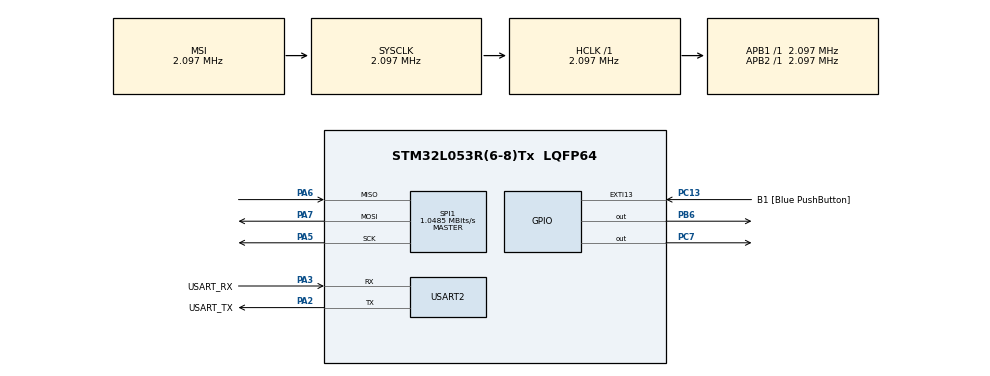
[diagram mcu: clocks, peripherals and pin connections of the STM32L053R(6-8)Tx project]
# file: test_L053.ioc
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Mcu.Family=STM32L0
Mcu.Name=STM32L053R(6-8)Tx
Mcu.Package=LQFP64
NVIC.USART2_IRQn=true\:0\:0\:false\:false\:true\:true\:true
PA13.GPIO_Label=TMS
PA13.Mode=Serial_Wire
PA13.Signal=SYS_SWDIO
PA14.GPIO_Label=TCK
PA14.Mode=Serial_Wire
PA14.Signal=SYS_SWCLK
PA2.GPIO_Label=USART_TX
PA2.Mode=Asynchronous
PA2.Signal=USART2_TX
PA3.GPIO_Label=USART_RX
PA3.Mode=Asynchronous
PA3.Signal=USART2_RX
PA5.Mode=Full_Duplex_Master
PA5.Signal=SPI1_SCK
PA6.Mode=Full_Duplex_Master
PA6.Signal=SPI1_MISO
PA7.Mode=Full_Duplex_Master
PA7.Signal=SPI1_MOSI
PB6.Signal=GPIO_Output
PC13.GPIO_Label=B1 [Blue PushButton]
PC13.GPIO_ModeDefaultEXTI=GPIO_MODE_IT_FALLING
PC13.Signal=GPXTI13
PC14-OSC32_IN.Mode=LSE-External-Oscillator
PC14-OSC32_IN.Signal=RCC_OSC32_IN
PC15-OSC32_OUT.Mode=LSE-External-Oscillator
PC15-OSC32_OUT.Signal=RCC_OSC32_OUT
PC7.Signal=GPIO_Output
PH0-OSC_IN.Mode=HSE-External-Clock-Source
PH0-OSC_IN.Signal=RCC_OSC_IN
PH1-OSC_OUT.Signal=RCC_OSC_OUT
ProjectManager.HeapSize=0x200
ProjectManager.StackSize=0x400
ProjectManager.TargetToolchain=MDK-ARM V5
RCC.AHBFreq_Value=2097000
RCC.APB1Freq_Value=2097000
RCC.APB1TimFreq_Value=2097000
RCC.APB2Freq_Value=2097000
RCC.APB2TimFreq_Value=2097000
RCC.HSE_VALUE=8000000
RCC.HSI16_VALUE=16000000
RCC.HSI48_VALUE=48000000
RCC.HSI_VALUE=16000000
RCC.MSI_VALUE=2097000
RCC.SYSCLKFreq_VALUE=2097000
RCC.VCOOutputFreq_Value=48000000
SPI1.CalculateBaudRate=1.0485 MBits/s
SPI1.Direction=SPI_DIRECTION_2LINES
SPI1.Mode=SPI_MODE_MASTER
SPI1.VirtualType=VM_MASTER
USART2.VirtualMode-Asynchronous=VM_ASYNC
board=NUCLEO-L053R8

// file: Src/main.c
/* USER CODE BEGIN Header */
/**
  ******************************************************************************
  * @file           : main.c
  * @brief          : Main program body
  ******************************************************************************
  * @attention
  *
  * <h2><center>&copy; Copyright (c) 2019 STMicroelectronics.
  * All rights reserved.</center></h2>
  *
  * This software component is licensed by ST under BSD 3-Clause license,
  * the "License"; You may not use this file except in compliance with the
  * License. You may obtain a copy of the License at:
  *                        opensource.org/licenses/BSD-3-Clause
  *
  ******************************************************************************
  */
/* USER CODE END Header */

#include "main.h"

/* USER CODE BEGIN Includes */
#include "w6100.h"
#include "loopback.h"
#include "socket.h"
#include <stdio.h>
#include "board_init.h"
#include "Application.h"
/* USER CODE END Includes */

/* USER CODE BEGIN PTD */
#define KEIL //KEIL ,True_STD
/* USER CODE END PTD */

/* USER CODE BEGIN PD */
unsigned char URX_BUF[512];
unsigned int URX_BUF_cnt = 0;
unsigned int URX_BUF_Flag = 0;
/* USER CODE END PD */

/* USER CODE BEGIN PM */
uint8_t rxData;
wiz_NetInfo gWIZNETINFO = { .mac = {0x00,0x08,0xdc,0xff,0xff,0xff},
							.ip = {192,168,0,13},
							.sn = {255, 255, 255, 0},
							.gw = {192, 168, 0, 1},
							.dns = {168, 126, 63, 1},
							.lla = {0xfe,0x80, 0x00,0x00,
								 0x00,0x00, 0x00,0x00,
								 0x02,0x00, 0xdc,0xff,
								 0xfe,0x57, 0x57,0x62},
				            .gua={0x00,0x00,0x00,0x00,
								 0x00,0x00,0x00,0x00,
								 0x00,0x00,0x00,0x00,
								 0x00,0x00,0x00,0x00},
				            .sn6={0x00,0x00,0x00,0x00,
								 0x00,0x00,0x00,0x00,
								 0x00,0x00,0x00, 0x00,
								 0x00,0x00,0x00,0x00},
				            .gw6={0x00, 0x00, 0x00,0x00,
								  0x00,0x00,0x00,0x00,
								  0x00,0x00, 0x00,0x00,
								  0x00,0x00, 0x00,0x00}
							};

uint8_t WIZ_Dest_IP[4] = {192, 168, 0, 232};                  //DST_IP Address

uint8_t DestIP6_L[16] = {0xfe,0x80, 0x00,0x00,
						  0x00,0x00, 0x00,0x00,
                          0x31,0x71,0x98,0x05,
                          0x70,0x24,0x4b,0xb1
						};

uint8_t DestIP6_G[16] = {0x20,0x01,0x02,0xb8,
                          0x00,0x10,0x00,0x01,
                          0x31,0x71,0x98,0x05,
                          0x70,0x24,0x4b,0xb1
                         };

uint8_t Router_IP[16]= {0xff,0x02,0x00,0x00,
                          0x00,0x00,0x00,0x00,
                          0x00,0x00,0x00,0x00,
                          0x00,0x00,0x00,0x02
                         };
uint8_t data_buf[2048];
void print_network_information(void);
/* USER CODE END PM */

SPI_HandleTypeDef hspi1;

UART_HandleTypeDef huart2;

void SystemClock_Config(void);
static void MX_GPIO_Init(void);
static void MX_SPI1_Init(void);
static void MX_USART2_UART_Init(void);
/* USER CODE BEGIN PFP */
#ifdef KEIL
	#ifdef __GNUC__
		//With GCC, small printf (option LD Linker->Libraries->Small printf
		//set to 'Yes') calls __io_putchar()
		#define PUTCHAR_PROTOTYPE int __io_putchar(int ch)
	#else
		#define PUTCHAR_PROTOTYPE int fputc(int ch, FILE *f)
	#endif /* __GNUC__*/

	PUTCHAR_PROTOTYPE
	{
		HAL_UART_Transmit(&huart2, (uint8_t *)&ch, 1, 0xFFFF);
		return ch;
	}
#endif

#ifdef True_STD
	int _write(int fd, char *str, int len)
	{
		for(int i=0; i<len; i++)
		{
			HAL_UART_Transmit(&huart2, (uint8_t *)&str[i], 1, 0xFFFF);
		}
		return len;
	}
#endif

void HAL_UART_RxCpltCallback(UART_HandleTypeDef *huart) {

    /*
        This will be called once data is received successfully,
        via interrupts.
    */

     /*
       loop back received data
     */
     HAL_UART_Receive_IT(&huart2, &rxData, 1);
     HAL_UART_Transmit(&huart2, &rxData, 1, 1000);
     //massage input end enter key flag
     URX_BUF[URX_BUF_cnt++] = rxData;
     if((rxData == '\r') ||(URX_BUF_cnt > 512))
     {
    	 URX_BUF_Flag = 1;
     }
}
/* USER CODE END PFP */

int main(void)
{
  /* USER CODE BEGIN 1 */
  uint8_t syslock = SYS_NET_LOCK;
  /* USER CODE END 1 */

  /* MCU Configuration--------------------------------------------------------*/

  /* Reset of all peripherals, Initializes the Flash interface and the Systick. */
  HAL_Init();

  /* Configure the system clock */
  SystemClock_Config();

  /* Initialize all configured peripherals */
  MX_GPIO_Init();
  MX_SPI1_Init();
  MX_USART2_UART_Init();
  /* USER CODE BEGIN 2 */
  HAL_GPIO_WritePin(GPIOC, GPIO_PIN_7, GPIO_PIN_SET);
  HAL_UART_Receive_IT(&huart2, &rxData, 1);
  printf("< Nucleo W6100 TEST!! > \r\n");

  BoardInitialze();
  ctlwizchip(CW_SYS_UNLOCK,& syslock);
  ctlnetwork(CN_SET_NETINFO,&gWIZNETINFO);
  print_network_information();
  /* USER CODE END 2 */

  /* Infinite loop */
  /* USER CODE BEGIN WHILE */
  while (1)
  {
	if(URX_BUF_Flag)
	{
		URX_BUF_Flag = 0;
		URX_BUF[URX_BUF_cnt] = 0;
		printf("\r\n input:%s\r\n", URX_BUF);
		if(getSn_SR(1) == SOCK_ESTABLISHED)
			send(1, URX_BUF, URX_BUF_cnt);
		URX_BUF_cnt = 0;
	}
    /* USER CODE END WHILE */

    /* USER CODE BEGIN 3 */
	loopback_tcps(0, data_buf, 5000, AS_IPV4);
	loopback_tcps(1, data_buf, 5001, AS_IPV6);
  }
  /* USER CODE END 3 */
}

void SystemClock_Config(void)
{
  RCC_OscInitTypeDef RCC_OscInitStruct = {0};
  RCC_ClkInitTypeDef RCC_ClkInitStruct = {0};
  RCC_PeriphCLKInitTypeDef PeriphClkInit = {0};

  /** Configure the main internal regulator output voltage
  */
  __HAL_PWR_VOLTAGESCALING_CONFIG(PWR_REGULATOR_VOLTAGE_SCALE1);
  /** Initializes the CPU, AHB and APB busses clocks
  */
  RCC_OscInitStruct.OscillatorType = RCC_OSCILLATORTYPE_MSI;
  RCC_OscInitStruct.MSIState = RCC_MSI_ON;
  RCC_OscInitStruct.MSICalibrationValue = 0;
  RCC_OscInitStruct.MSIClockRange = RCC_MSIRANGE_5;
  RCC_OscInitStruct.PLL.PLLState = RCC_PLL_NONE;
  if (HAL_RCC_OscConfig(&RCC_OscInitStruct) != HAL_OK)
  {
    Error_Handler();
  }
  /** Initializes the CPU, AHB and APB busses clocks
  */
  RCC_ClkInitStruct.ClockType = RCC_CLOCKTYPE_HCLK|RCC_CLOCKTYPE_SYSCLK
                              |RCC_CLOCKTYPE_PCLK1|RCC_CLOCKTYPE_PCLK2;
  RCC_ClkInitStruct.SYSCLKSource = RCC_SYSCLKSOURCE_MSI;
  RCC_ClkInitStruct.AHBCLKDivider = RCC_SYSCLK_DIV1;
  RCC_ClkInitStruct.APB1CLKDivider = RCC_HCLK_DIV1;
  RCC_ClkInitStruct.APB2CLKDivider = RCC_HCLK_DIV1;

  if (HAL_RCC_ClockConfig(&RCC_ClkInitStruct, FLASH_LATENCY_0) != HAL_OK)
  {
    Error_Handler();
  }
  PeriphClkInit.PeriphClockSelection = RCC_PERIPHCLK_USART2;
  PeriphClkInit.Usart2ClockSelection = RCC_USART2CLKSOURCE_PCLK1;
  if (HAL_RCCEx_PeriphCLKConfig(&PeriphClkInit) != HAL_OK)
  {
    Error_Handler();
  }
}

static void MX_SPI1_Init(void)
{

  /* SPI1 parameter configuration*/
  hspi1.Instance = SPI1;
  hspi1.Init.Mode = SPI_MODE_MASTER;
  hspi1.Init.Direction = SPI_DIRECTION_2LINES;
  hspi1.Init.DataSize = SPI_DATASIZE_8BIT;
  hspi1.Init.CLKPolarity = SPI_POLARITY_LOW;
  hspi1.Init.CLKPhase = SPI_PHASE_1EDGE;
  hspi1.Init.NSS = SPI_NSS_SOFT;
  hspi1.Init.BaudRatePrescaler = SPI_BAUDRATEPRESCALER_2;
  hspi1.Init.FirstBit = SPI_FIRSTBIT_MSB;
  hspi1.Init.TIMode = SPI_TIMODE_DISABLE;
  hspi1.Init.CRCCalculation = SPI_CRCCALCULATION_DISABLE;
  hspi1.Init.CRCPolynomial = 7;
  if (HAL_SPI_Init(&hspi1) != HAL_OK)
  {
    Error_Handler();
  }

}

static void MX_USART2_UART_Init(void)
{

  huart2.Instance = USART2;
  huart2.Init.BaudRate = 115200;
  huart2.Init.WordLength = UART_WORDLENGTH_8B;
  huart2.Init.StopBits = UART_STOPBITS_1;
  huart2.Init.Parity = UART_PARITY_NONE;
  huart2.Init.Mode = UART_MODE_TX_RX;
  huart2.Init.HwFlowCtl = UART_HWCONTROL_NONE;
  huart2.Init.OverSampling = UART_OVERSAMPLING_16;
  huart2.Init.OneBitSampling = UART_ONE_BIT_SAMPLE_DISABLE;
  huart2.AdvancedInit.AdvFeatureInit = UART_ADVFEATURE_NO_INIT;
  if (HAL_UART_Init(&huart2) != HAL_OK)
  {
    Error_Handler();
  }

}

static void MX_GPIO_Init(void)
{
  GPIO_InitTypeDef GPIO_InitStruct = {0};

  /* GPIO Ports Clock Enable */
  __HAL_RCC_GPIOC_CLK_ENABLE();
  __HAL_RCC_GPIOH_CLK_ENABLE();
  __HAL_RCC_GPIOA_CLK_ENABLE();
  __HAL_RCC_GPIOB_CLK_ENABLE();

  /*Configure GPIO pin Output Level */
  HAL_GPIO_WritePin(GPIOC, GPIO_PIN_7, GPIO_PIN_RESET);

  /*Configure GPIO pin Output Level */
  HAL_GPIO_WritePin(GPIOB, GPIO_PIN_6, GPIO_PIN_RESET);

  /*Configure GPIO pin : B1_Pin */
  GPIO_InitStruct.Pin = B1_Pin;
  GPIO_InitStruct.Mode = GPIO_MODE_IT_FALLING;
  GPIO_InitStruct.Pull = GPIO_NOPULL;
  HAL_GPIO_Init(B1_GPIO_Port, &GPIO_InitStruct);

  /*Configure GPIO pin : PC7 */
  GPIO_InitStruct.Pin = GPIO_PIN_7;
  GPIO_InitStruct.Mode = GPIO_MODE_OUTPUT_PP;
  GPIO_InitStruct.Pull = GPIO_NOPULL;
  GPIO_InitStruct.Speed = GPIO_SPEED_FREQ_LOW;
  HAL_GPIO_Init(GPIOC, &GPIO_InitStruct);

  /*Configure GPIO pin : PB6 */
  GPIO_InitStruct.Pin = GPIO_PIN_6;
  GPIO_InitStruct.Mode = GPIO_MODE_OUTPUT_PP;
  GPIO_InitStruct.Pull = GPIO_NOPULL;
  GPIO_InitStruct.Speed = GPIO_SPEED_FREQ_LOW;
  HAL_GPIO_Init(GPIOB, &GPIO_InitStruct);

}

/* USER CODE BEGIN 4 */
void print_network_information(void)
{
	wizchip_getnetinfo(&gWIZNETINFO);
	printf("Mac address: %02x:%02x:%02x:%02x:%02x:%02x\n\r",gWIZNETINFO.mac[0],gWIZNETINFO.mac[1],gWIZNETINFO.mac[2],gWIZNETINFO.mac[3],gWIZNETINFO.mac[4],gWIZNETINFO.mac[5]);
	printf("IP address : %d.%d.%d.%d\n\r",gWIZNETINFO.ip[0],gWIZNETINFO.ip[1],gWIZNETINFO.ip[2],gWIZNETINFO.ip[3]);
	printf("SN Mask	   : %d.%d.%d.%d\n\r",gWIZNETINFO.sn[0],gWIZNETINFO.sn[1],gWIZNETINFO.sn[2],gWIZNETINFO.sn[3]);
	printf("Gate way   : %d.%d.%d.%d\n\r",gWIZNETINFO.gw[0],gWIZNETINFO.gw[1],gWIZNETINFO.gw[2],gWIZNETINFO.gw[3]);
	printf("DNS Server : %d.%d.%d.%d\n\r",gWIZNETINFO.dns[0],gWIZNETINFO.dns[1],gWIZNETINFO.dns[2],gWIZNETINFO.dns[3]);
	printf("LLA  : %.2X%.2X:%.2X%.2X:%.2X%.2X:%.2X%.2X:%.2X%.2X:%.2X%.2X:%.2X%.2X:%.2X%.2X\r\n",gWIZNETINFO.lla[0],gWIZNETINFO.lla[1],gWIZNETINFO.lla[2],gWIZNETINFO.lla[3],\
									gWIZNETINFO.lla[4],gWIZNETINFO.lla[5],gWIZNETINFO.lla[6],gWIZNETINFO.lla[7],\
									gWIZNETINFO.lla[8],gWIZNETINFO.lla[9],gWIZNETINFO.lla[10],gWIZNETINFO.lla[11],\
									gWIZNETINFO.lla[12],gWIZNETINFO.lla[13],gWIZNETINFO.lla[14],gWIZNETINFO.lla[15]);
	printf("GUA  : %.2X%.2X:%.2X%.2X:%.2X%.2X:%.2X%.2X:%.2X%.2X:%.2X%.2X:%.2X%.2X:%.2X%.2X\n\r",gWIZNETINFO.gua[0],gWIZNETINFO.gua[1],gWIZNETINFO.gua[2],gWIZNETINFO.gua[3],\
									gWIZNETINFO.gua[4],gWIZNETINFO.gua[5],gWIZNETINFO.gua[6],gWIZNETINFO.gua[7],\
									gWIZNETINFO.gua[8],gWIZNETINFO.gua[9],gWIZNETINFO.gua[10],gWIZNETINFO.gua[11],\
									gWIZNETINFO.gua[12],gWIZNETINFO.gua[13],gWIZNETINFO.gua[14],gWIZNETINFO.gua[15]);
	printf("SN6  : %.2X%.2X:%.2X%.2X:%.2X%.2X:%.2X%.2X:%.2X%.2X:%.2X%.2X:%.2X%.2X:%.2X%.2X\n\r",gWIZNETINFO.sn6[0],gWIZNETINFO.sn6[1],gWIZNETINFO.sn6[2],gWIZNETINFO.sn6[3],\
									gWIZNETINFO.sn6[4],gWIZNETINFO.sn6[5],gWIZNETINFO.sn6[6],gWIZNETINFO.sn6[7],\
									gWIZNETINFO.sn6[8],gWIZNETINFO.sn6[9],gWIZNETINFO.sn6[10],gWIZNETINFO.sn6[11],\
									gWIZNETINFO.sn6[12],gWIZNETINFO.sn6[13],gWIZNETINFO.sn6[14],gWIZNETINFO.sn6[15]);
	printf("GW6  : %.2X%.2X:%.2X%.2X:%.2X%.2X:%.2X%.2X:%.2X%.2X:%.2X%.2X:%.2X%.2X:%.2X%.2X\r\n",gWIZNETINFO.gw6[0],gWIZNETINFO.gw6[1],gWIZNETINFO.gw6[2],gWIZNETINFO.gw6[3],\
									gWIZNETINFO.gw6[4],gWIZNETINFO.gw6[5],gWIZNETINFO.gw6[6],gWIZNETINFO.gw6[7],\
									gWIZNETINFO.gw6[8],gWIZNETINFO.gw6[9],gWIZNETINFO.gw6[10],gWIZNETINFO.gw6[11],\
									gWIZNETINFO.gw6[12],gWIZNETINFO.gw6[13],gWIZNETINFO.gw6[14],gWIZNETINFO.gw6[15]);

}
/* USER CODE END 4 */

void Error_Handler(void)
{
}

/************************ (C) COPYRIGHT STMicroelectronics *****END OF FILE****/
